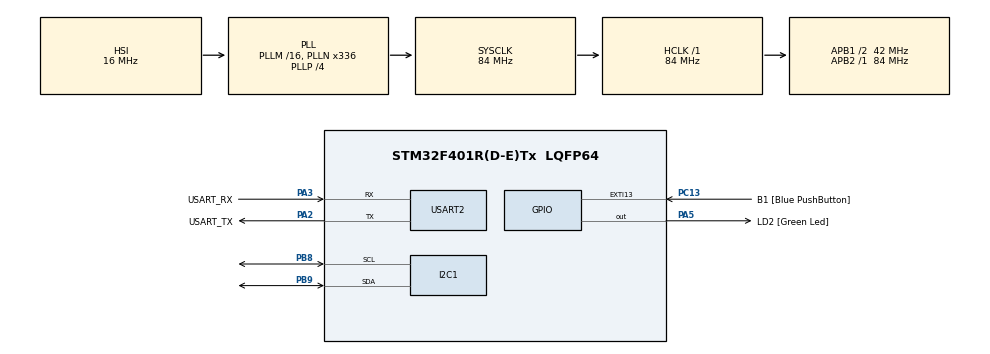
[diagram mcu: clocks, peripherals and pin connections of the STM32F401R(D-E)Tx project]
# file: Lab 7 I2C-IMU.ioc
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Dma.Request0=USART2_TX
Dma.USART2_TX.0.Direction=DMA_MEMORY_TO_PERIPH
Dma.USART2_TX.0.FIFOMode=DMA_FIFOMODE_DISABLE
Dma.USART2_TX.0.Instance=DMA1_Stream6
Dma.USART2_TX.0.MemDataAlignment=DMA_MDATAALIGN_BYTE
Dma.USART2_TX.0.MemInc=DMA_MINC_ENABLE
Dma.USART2_TX.0.Mode=DMA_NORMAL
Dma.USART2_TX.0.PeriphDataAlignment=DMA_PDATAALIGN_BYTE
Dma.USART2_TX.0.PeriphInc=DMA_PINC_DISABLE
Dma.USART2_TX.0.Priority=DMA_PRIORITY_LOW
Mcu.Family=STM32F4
Mcu.Name=STM32F401R(D-E)Tx
Mcu.Package=LQFP64
NVIC.DMA1_Stream6_IRQn=true\:0\:0\:false\:false\:true\:false\:true\:true
NVIC.I2C1_ER_IRQn=true\:0\:0\:false\:false\:true\:true\:true\:true
NVIC.I2C1_EV_IRQn=true\:0\:0\:false\:false\:true\:true\:true\:true
NVIC.PriorityGroup=NVIC_PRIORITYGROUP_1
NVIC.TIM2_IRQn=true\:0\:0\:false\:false\:true\:true\:true\:true
NVIC.USART2_IRQn=true\:1\:0\:true\:false\:true\:true\:true\:true
PA13.GPIO_Label=TMS
PA13.Mode=Serial_Wire
PA13.Signal=SYS_JTMS-SWDIO
PA14.GPIO_Label=TCK
PA14.Mode=Serial_Wire
PA14.Signal=SYS_JTCK-SWCLK
PA2.GPIO_Label=USART_TX
PA2.GPIO_Mode=GPIO_MODE_AF_PP
PA2.GPIO_PuPd=GPIO_NOPULL
PA2.GPIO_Speed=GPIO_SPEED_FREQ_LOW
PA2.Mode=Asynchronous
PA2.Signal=USART2_TX
PA3.GPIO_Label=USART_RX
PA3.GPIO_Mode=GPIO_MODE_AF_PP
PA3.GPIO_PuPd=GPIO_NOPULL
PA3.GPIO_Speed=GPIO_SPEED_FREQ_LOW
PA3.Mode=Asynchronous
PA3.Signal=USART2_RX
PA5.GPIO_Label=LD2 [Green Led]
PA5.GPIO_Mode=GPIO_MODE_OUTPUT_PP
PA5.GPIO_PuPd=GPIO_NOPULL
PA5.GPIO_Speed=GPIO_SPEED_FREQ_LOW
PA5.Signal=GPIO_Output
PB3.GPIO_Label=SWO
PB3.Signal=SYS_JTDO-SWO
PB8.Mode=I2C
PB8.Signal=I2C1_SCL
PB9.Mode=I2C
PB9.Signal=I2C1_SDA
PC13-ANTI_TAMP.GPIO_Label=B1 [Blue PushButton]
PC13-ANTI_TAMP.GPIO_ModeDefaultEXTI=GPIO_MODE_IT_FALLING
PC13-ANTI_TAMP.GPIO_PuPd=GPIO_NOPULL
PC13-ANTI_TAMP.Signal=GPXTI13
PC14-OSC32_IN.Mode=LSE-External-Oscillator
PC14-OSC32_IN.Signal=RCC_OSC32_IN
PC15-OSC32_OUT.Mode=LSE-External-Oscillator
PC15-OSC32_OUT.Signal=RCC_OSC32_OUT
PH0\ -\ OSC_IN.Mode=HSE-External-Clock-Source
PH0\ -\ OSC_IN.Signal=RCC_OSC_IN
PH1\ -\ OSC_OUT.Mode=HSE-External-Clock-Source
PH1\ -\ OSC_OUT.Signal=RCC_OSC_OUT
ProjectManager.HeapSize=0x200
ProjectManager.StackSize=0x400
ProjectManager.TargetToolchain=STM32CubeIDE
RCC.48MHZClocksFreq_Value=48000000
RCC.AHBFreq_Value=84000000
RCC.APB1CLKDivider=RCC_HCLK_DIV2
RCC.APB1Freq_Value=42000000
RCC.APB1TimFreq_Value=84000000
RCC.APB2Freq_Value=84000000
RCC.APB2TimFreq_Value=84000000
RCC.CortexFreq_Value=84000000
RCC.HCLKFreq_Value=84000000
RCC.HSE_VALUE=8000000
RCC.HSI_VALUE=16000000
RCC.PLLN=336
RCC.PLLP=RCC_PLLP_DIV4
RCC.PLLQ=7
RCC.SYSCLKFreq_VALUE=84000000
RCC.SYSCLKSource=RCC_SYSCLKSOURCE_PLLCLK
RCC.VCOOutputFreq_Value=336000000
TIM2.Period=10000-1
TIM2.Prescaler=8400-1
USART2.VirtualMode=VM_ASYNC
VP_TIM2_VS_ClockSourceINT.Mode=Internal
board=NUCLEO-F401RE

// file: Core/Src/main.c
/* USER CODE BEGIN Header */
/**
 ******************************************************************************
 * @file           : main.c
 * @brief          : Main program body
 ******************************************************************************
 * @attention
 *
 * Copyright (c) 2023 STMicroelectronics.
 * All rights reserved.
 *
 * This software is licensed under terms that can be found in the LICENSE file
 * in the root directory of this software component.
 * If no LICENSE file comes with this software, it is provided AS-IS.
 *
 ******************************************************************************
 */
/* USER CODE END Header */
#include "main.h"

/* USER CODE BEGIN Includes */
#include <stdio.h>
#include <string.h>
/* USER CODE END Includes */

I2C_HandleTypeDef hi2c1;

TIM_HandleTypeDef htim2;

UART_HandleTypeDef huart2;
DMA_HandleTypeDef hdma_usart2_tx;

void SystemClock_Config(void);
static void MX_GPIO_Init(void);
static void MX_DMA_Init(void);
static void MX_USART2_UART_Init(void);
static void MX_I2C1_Init(void);
static void MX_TIM2_Init(void);

/* USER CODE BEGIN 0 */
uint8_t device_addr = 0b01010000;
void HAL_TIM_PeriodElapsedCallback(TIM_HandleTypeDef *htim) {
	if (htim->Instance == TIM2) {
		// This code is executed when TIM2 period is elapsed
		char string[128];
		const uint8_t X_pin = 0x29;
		const uint8_t Y_pin = 0x2B;
		const uint8_t Z_pin = 0x2D;

		int8_t x_int, y_int, z_int;

		HAL_I2C_Master_Transmit(&hi2c1, device_addr, &X_pin, 1, 50); //telling which variable i want to read
		HAL_I2C_Master_Receive(&hi2c1, device_addr + 1, &x_int, 1, 50);

		HAL_I2C_Master_Transmit(&hi2c1, device_addr, &Y_pin, 1, 50); //telling which variable i want to read
		HAL_I2C_Master_Receive(&hi2c1, device_addr + 1, &y_int, 1, 50);

		HAL_I2C_Master_Transmit(&hi2c1, device_addr, &Z_pin, 1, 50); //telling which variable i want to read
		HAL_I2C_Master_Receive(&hi2c1, device_addr + 1, &z_int, 1, 50);

		float x = (float) x_int / 64.0;
		float y = (float) y_int / 64.0;
		float z = (float) z_int / 64.0;

		int len = snprintf(string, sizeof(string), "X: %.3fg\r\nY: %.3fg\r\nZ: %.3fg\r\n", x, y, z);
		HAL_UART_Transmit_DMA(&huart2, string, len);
	}
}
/* USER CODE END 0 */

int main(void)
{

  /* MCU Configuration--------------------------------------------------------*/

  /* Reset of all peripherals, Initializes the Flash interface and the Systick. */
  HAL_Init();

  /* Configure the system clock */
  SystemClock_Config();

  /* Initialize all configured peripherals */
  MX_GPIO_Init();
  MX_DMA_Init();
  MX_USART2_UART_Init();
  MX_I2C1_Init();
  MX_TIM2_Init();
  /* USER CODE BEGIN 2 */
	const uint8_t CTRL_REG1_data[2] = { 0b0100000, 0b00010111 };
	const uint8_t CTRL_REG2_data[2] = { 0b0100001, 0b00000000 };
	const uint8_t CTRL_REG4_data[2] = { 0b0100011, 0b00000000 };

	HAL_TIM_Base_Start_IT(&htim2);

  /* USER CODE END 2 */

  /* Infinite loop */
  /* USER CODE BEGIN WHILE */

	//define which sensor is the one on the board and define correct parameters
	if (HAL_I2C_Master_Transmit(&hi2c1, device_addr, CTRL_REG1_data, sizeof(CTRL_REG1_data), 1000) != HAL_OK) {
		device_addr = 0b00110000;
		if (HAL_I2C_Master_Transmit(&hi2c1, device_addr, CTRL_REG1_data, sizeof(CTRL_REG1_data), 1000) != HAL_OK) {
			HAL_UART_Transmit(&huart2, (uint8_t*) "ERROR\n", 7, 100);

			Error_Handler();
		}
	}

	HAL_I2C_Master_Transmit(&hi2c1, device_addr, CTRL_REG2_data, sizeof(CTRL_REG2_data), 50);
	HAL_I2C_Master_Transmit(&hi2c1, device_addr, CTRL_REG4_data, sizeof(CTRL_REG4_data), 50);

	while (1) {
    /* USER CODE END WHILE */

	}
}

void SystemClock_Config(void)
{
  RCC_OscInitTypeDef RCC_OscInitStruct = {0};
  RCC_ClkInitTypeDef RCC_ClkInitStruct = {0};

  /** Configure the main internal regulator output voltage
  */
  __HAL_RCC_PWR_CLK_ENABLE();
  __HAL_PWR_VOLTAGESCALING_CONFIG(PWR_REGULATOR_VOLTAGE_SCALE2);

  /** Initializes the RCC Oscillators according to the specified parameters
  * in the RCC_OscInitTypeDef structure.
  */
  RCC_OscInitStruct.OscillatorType = RCC_OSCILLATORTYPE_HSI;
  RCC_OscInitStruct.HSIState = RCC_HSI_ON;
  RCC_OscInitStruct.HSICalibrationValue = RCC_HSICALIBRATION_DEFAULT;
  RCC_OscInitStruct.PLL.PLLState = RCC_PLL_ON;
  RCC_OscInitStruct.PLL.PLLSource = RCC_PLLSOURCE_HSI;
  RCC_OscInitStruct.PLL.PLLM = 16;
  RCC_OscInitStruct.PLL.PLLN = 336;
  RCC_OscInitStruct.PLL.PLLP = RCC_PLLP_DIV4;
  RCC_OscInitStruct.PLL.PLLQ = 7;
  if (HAL_RCC_OscConfig(&RCC_OscInitStruct) != HAL_OK)
  {
    Error_Handler();
  }

  /** Initializes the CPU, AHB and APB buses clocks
  */
  RCC_ClkInitStruct.ClockType = RCC_CLOCKTYPE_HCLK|RCC_CLOCKTYPE_SYSCLK
                              |RCC_CLOCKTYPE_PCLK1|RCC_CLOCKTYPE_PCLK2;
  RCC_ClkInitStruct.SYSCLKSource = RCC_SYSCLKSOURCE_PLLCLK;
  RCC_ClkInitStruct.AHBCLKDivider = RCC_SYSCLK_DIV1;
  RCC_ClkInitStruct.APB1CLKDivider = RCC_HCLK_DIV2;
  RCC_ClkInitStruct.APB2CLKDivider = RCC_HCLK_DIV1;

  if (HAL_RCC_ClockConfig(&RCC_ClkInitStruct, FLASH_LATENCY_2) != HAL_OK)
  {
    Error_Handler();
  }
}

static void MX_I2C1_Init(void)
{

  hi2c1.Instance = I2C1;
  hi2c1.Init.ClockSpeed = 100000;
  hi2c1.Init.DutyCycle = I2C_DUTYCYCLE_2;
  hi2c1.Init.OwnAddress1 = 0;
  hi2c1.Init.AddressingMode = I2C_ADDRESSINGMODE_7BIT;
  hi2c1.Init.DualAddressMode = I2C_DUALADDRESS_DISABLE;
  hi2c1.Init.OwnAddress2 = 0;
  hi2c1.Init.GeneralCallMode = I2C_GENERALCALL_DISABLE;
  hi2c1.Init.NoStretchMode = I2C_NOSTRETCH_DISABLE;
  if (HAL_I2C_Init(&hi2c1) != HAL_OK)
  {
    Error_Handler();
  }

}

static void MX_TIM2_Init(void)
{

  TIM_ClockConfigTypeDef sClockSourceConfig = {0};
  TIM_MasterConfigTypeDef sMasterConfig = {0};

  htim2.Instance = TIM2;
  htim2.Init.Prescaler = 8400-1;
  htim2.Init.CounterMode = TIM_COUNTERMODE_UP;
  htim2.Init.Period = 10000-1;
  htim2.Init.ClockDivision = TIM_CLOCKDIVISION_DIV1;
  htim2.Init.AutoReloadPreload = TIM_AUTORELOAD_PRELOAD_DISABLE;
  if (HAL_TIM_Base_Init(&htim2) != HAL_OK)
  {
    Error_Handler();
  }
  sClockSourceConfig.ClockSource = TIM_CLOCKSOURCE_INTERNAL;
  if (HAL_TIM_ConfigClockSource(&htim2, &sClockSourceConfig) != HAL_OK)
  {
    Error_Handler();
  }
  sMasterConfig.MasterOutputTrigger = TIM_TRGO_RESET;
  sMasterConfig.MasterSlaveMode = TIM_MASTERSLAVEMODE_DISABLE;
  if (HAL_TIMEx_MasterConfigSynchronization(&htim2, &sMasterConfig) != HAL_OK)
  {
    Error_Handler();
  }

}

static void MX_USART2_UART_Init(void)
{

  huart2.Instance = USART2;
  huart2.Init.BaudRate = 115200;
  huart2.Init.WordLength = UART_WORDLENGTH_8B;
  huart2.Init.StopBits = UART_STOPBITS_1;
  huart2.Init.Parity = UART_PARITY_NONE;
  huart2.Init.Mode = UART_MODE_TX_RX;
  huart2.Init.HwFlowCtl = UART_HWCONTROL_NONE;
  huart2.Init.OverSampling = UART_OVERSAMPLING_16;
  if (HAL_UART_Init(&huart2) != HAL_OK)
  {
    Error_Handler();
  }

}

static void MX_DMA_Init(void)
{

  /* DMA controller clock enable */
  __HAL_RCC_DMA1_CLK_ENABLE();

  /* DMA interrupt init */
  /* DMA1_Stream6_IRQn interrupt configuration */
  HAL_NVIC_SetPriority(DMA1_Stream6_IRQn, 0, 0);
  HAL_NVIC_EnableIRQ(DMA1_Stream6_IRQn);

}

static void MX_GPIO_Init(void)
{
  GPIO_InitTypeDef GPIO_InitStruct = {0};

  /* GPIO Ports Clock Enable */
  __HAL_RCC_GPIOC_CLK_ENABLE();
  __HAL_RCC_GPIOH_CLK_ENABLE();
  __HAL_RCC_GPIOA_CLK_ENABLE();
  __HAL_RCC_GPIOB_CLK_ENABLE();

  /*Configure GPIO pin Output Level */
  HAL_GPIO_WritePin(LD2_GPIO_Port, LD2_Pin, GPIO_PIN_RESET);

  /*Configure GPIO pin : B1_Pin */
  GPIO_InitStruct.Pin = B1_Pin;
  GPIO_InitStruct.Mode = GPIO_MODE_IT_FALLING;
  GPIO_InitStruct.Pull = GPIO_NOPULL;
  HAL_GPIO_Init(B1_GPIO_Port, &GPIO_InitStruct);

  /*Configure GPIO pin : LD2_Pin */
  GPIO_InitStruct.Pin = LD2_Pin;
  GPIO_InitStruct.Mode = GPIO_MODE_OUTPUT_PP;
  GPIO_InitStruct.Pull = GPIO_NOPULL;
  GPIO_InitStruct.Speed = GPIO_SPEED_FREQ_LOW;
  HAL_GPIO_Init(LD2_GPIO_Port, &GPIO_InitStruct);

}

void Error_Handler(void)
{
	__disable_irq();
	while (1) {
	}
}
